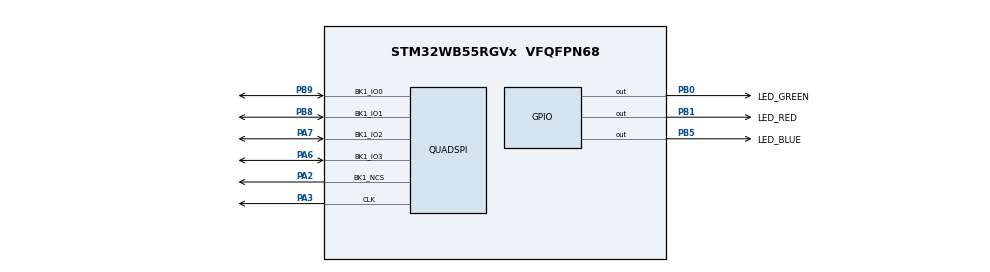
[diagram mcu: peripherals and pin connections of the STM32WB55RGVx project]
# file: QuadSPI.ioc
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Mcu.Family=STM32WB
Mcu.Name=STM32WB55RGVx
Mcu.Package=VFQFPN68
NVIC.PriorityGroup=NVIC_PRIORITYGROUP_4
NVIC.QUADSPI_IRQn=true\:0\:0\:false\:false\:true\:true\:true\:true
OSC_IN.Mode=HSE-External-Oscillator
OSC_IN.Signal=RCC_OSC_IN
OSC_OUT.Mode=HSE-External-Oscillator
OSC_OUT.Signal=RCC_OSC_OUT
PA13.Mode=Serial_Wire
PA13.Signal=SYS_JTMS-SWDIO
PA14.Mode=Serial_Wire
PA14.Signal=SYS_JTCK-SWCLK
PA2.GPIO_PuPd=GPIO_PULLUP
PA2.GPIO_Speed=GPIO_SPEED_FREQ_VERY_HIGH
PA2.Mode=Single Bank 1
PA2.Signal=QUADSPI_BK1_NCS
PA3.GPIO_PuPd=GPIO_NOPULL
PA3.GPIO_Speed=GPIO_SPEED_FREQ_VERY_HIGH
PA3.Mode=Single Bank 1
PA3.Signal=QUADSPI_CLK
PA6.GPIO_PuPd=GPIO_PULLUP
PA6.GPIO_Speed=GPIO_SPEED_FREQ_VERY_HIGH
PA6.Mode=Single Bank 1
PA6.Signal=QUADSPI_BK1_IO3
PA7.GPIO_PuPd=GPIO_PULLUP
PA7.GPIO_Speed=GPIO_SPEED_FREQ_VERY_HIGH
PA7.Mode=Single Bank 1
PA7.Signal=QUADSPI_BK1_IO2
PB0.GPIO_Label=LED_GREEN
PB0.Signal=GPIO_Output
PB1.GPIO_Label=LED_RED
PB1.Signal=GPIO_Output
PB5.GPIO_Label=LED_BLUE
PB5.Signal=GPIO_Output
PB8.GPIO_PuPd=GPIO_PULLUP
PB8.GPIO_Speed=GPIO_SPEED_FREQ_VERY_HIGH
PB8.Mode=Single Bank 1
PB8.Signal=QUADSPI_BK1_IO1
PB9.GPIO_PuPd=GPIO_PULLUP
PB9.GPIO_Speed=GPIO_SPEED_FREQ_VERY_HIGH
PB9.Mode=Single Bank 1
PB9.Signal=QUADSPI_BK1_IO0
PC14-OSC32_IN.Mode=LSE-External-Oscillator
PC14-OSC32_IN.Signal=RCC_OSC32_IN
PC15-OSC32_OUT.Mode=LSE-External-Oscillator
PC15-OSC32_OUT.Signal=RCC_OSC32_OUT
ProjectManager.HeapSize=0x200
ProjectManager.StackSize=0x400
ProjectManager.TargetToolchain=STM32CubeIDE
QUADSPI.ClockPrescaler=2
QUADSPI.FifoThreshold=4
QUADSPI.FlashSize=22
QUADSPI.SampleShifting=QSPI_SAMPLE_SHIFTING_HALFCYCLE
RCC.ADCFreq_Value=48000000
RCC.AHB2CLKDivider=RCC_SYSCLK_DIV2
RCC.AHBFreq_Value=64000000
RCC.APB1Freq_Value=64000000
RCC.APB1TimFreq_Value=64000000
RCC.APB2Freq_Value=64000000
RCC.APB2TimFreq_Value=64000000
RCC.APB3Freq_Value=16000000
RCC.CortexFreq_Value=64000000
RCC.HCLKFreq_Value=64000000
RCC.HSE_VALUE=32000000
RCC.HSI48_VALUE=48000000
RCC.HSI_VALUE=16000000
RCC.PLLN=32
RCC.PLLSAI1N=24
RCC.SYSCLKFreq_VALUE=64000000
RCC.SYSCLKSource=RCC_SYSCLKSOURCE_PLLCLK
RCC.USBFreq_Value=48000000
RCC.VCOOutputFreq_Value=128000000
board=custom

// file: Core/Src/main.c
/* USER CODE BEGIN Header */
/**
  ******************************************************************************
  * @file           : main.c
  * @brief          : Main program body
  ******************************************************************************
  * @attention
  *
  * Copyright (c) 2022 STMicroelectronics.
  * All rights reserved.
  *
  * This software is licensed under terms that can be found in the LICENSE file
  * in the root directory of this software component.
  * If no LICENSE file comes with this software, it is provided AS-IS.
  *
  ******************************************************************************
  */
/* USER CODE END Header */
#include "main.h"

/* USER CODE BEGIN Includes */
#include <stdio.h>
#include <stdint.h>
/* USER CODE END Includes */

 QSPI_HandleTypeDef hqspi;

void SystemClock_Config(void);
void PeriphCommonClock_Config(void);
static void MX_GPIO_Init(void);
static void MX_QUADSPI_Init(void);

/* USER CODE BEGIN 0 */
uint8_t buf[4] = {0};

int __io_putchar(int ch) {
    ITM_SendChar(ch);
    return ch;
}

int W25QxxReadFlashID()
{
	QSPI_CommandTypeDef     sCommand;

	/* Enable write operations ------------------------------------------ */
	sCommand.InstructionMode   = QSPI_INSTRUCTION_1_LINE;
	sCommand.Instruction       = 0x90;

	sCommand.AddressMode = QSPI_ADDRESS_1_LINE;
	sCommand.AddressSize = QSPI_ADDRESS_24_BITS;
	sCommand.Address = 0x0U;

	sCommand.AlternateByteMode = QSPI_ALTERNATE_BYTES_NONE;
	sCommand.AlternateBytes = QSPI_ALTERNATE_BYTES_NONE;
	sCommand.AlternateBytesSize = QSPI_ALTERNATE_BYTES_NONE;

	sCommand.DummyCycles = 0;
	sCommand.DataMode = QSPI_DATA_1_LINE;
	sCommand.NbData = 2;

	sCommand.DdrMode           = QSPI_DDR_MODE_DISABLE;
	sCommand.SIOOMode          = QSPI_SIOO_INST_EVERY_CMD;

	if (HAL_QSPI_Command(&hqspi, &sCommand, HAL_QSPI_TIMEOUT_DEFAULT_VALUE) != HAL_OK)
	{
	  Error_Handler();
	}

	if (HAL_QSPI_Receive(&hqspi, buf, HAL_QSPI_TIMEOUT_DEFAULT_VALUE) != HAL_OK) {
	  Error_Handler();
	}

	return 0;
}

typedef enum {
	Register_1,
	Register_2
} RegisterIndex;

int W25QxxReadStatus(RegisterIndex index, uint8_t *value)
{
	QSPI_CommandTypeDef sCommand = {0};

	/* Enable write operations ------------------------------------------ */
	sCommand.InstructionMode   = QSPI_INSTRUCTION_1_LINE;
	if (index == Register_1)
		sCommand.Instruction       = 0x05;
	else
		sCommand.Instruction       = 0x35;

	sCommand.DataMode = QSPI_DATA_1_LINE;
	sCommand.NbData = 1;

	if (HAL_QSPI_Command(&hqspi, &sCommand, HAL_QSPI_TIMEOUT_DEFAULT_VALUE) != HAL_OK)
	{
	  Error_Handler();
	}

	if (HAL_QSPI_Receive(&hqspi, value, HAL_QSPI_TIMEOUT_DEFAULT_VALUE) != HAL_OK) {
	  Error_Handler();
	}

	return 0;
}

int W25QxxWriteStatus(uint16_t value)
{
	uint8_t sendTo[] = {value, value>>8};
	QSPI_CommandTypeDef sCommand = {0};

	/* Enable write operations ------------------------------------------ */
	sCommand.InstructionMode   = QSPI_INSTRUCTION_1_LINE;
	sCommand.Instruction       = 0x01;

	sCommand.DataMode = QSPI_DATA_1_LINE;
	sCommand.NbData = 2;

	if (HAL_QSPI_Command(&hqspi, &sCommand, HAL_QSPI_TIMEOUT_DEFAULT_VALUE) != HAL_OK)
	{
	  Error_Handler();
	}

	if (HAL_QSPI_Transmit(&hqspi, sendTo, HAL_QSPI_TIMEOUT_DEFAULT_VALUE) != HAL_OK) {
	  Error_Handler();
	}

	return 0;
}

int W25QXXWriteEnable()
{
	QSPI_CommandTypeDef sCommand = {0};

	/* Enable write operations ------------------------------------------ */
	sCommand.InstructionMode   = QSPI_INSTRUCTION_1_LINE;
	sCommand.Instruction       = 0x06;

	sCommand.AddressMode = QSPI_ADDRESS_NONE;
	sCommand.AddressSize = QSPI_ADDRESS_NONE;
	sCommand.Address = 0x0U;

	sCommand.AlternateByteMode = QSPI_ALTERNATE_BYTES_NONE;
	sCommand.AlternateBytes = QSPI_ALTERNATE_BYTES_NONE;
	sCommand.AlternateBytesSize = QSPI_ALTERNATE_BYTES_NONE;

	sCommand.DummyCycles = 0;
	sCommand.DataMode = QSPI_DATA_NONE;
	sCommand.NbData = 0;

	sCommand.DdrMode = QSPI_DDR_MODE_DISABLE;
	sCommand.SIOOMode = QSPI_SIOO_INST_EVERY_CMD;

	if (HAL_QSPI_Command(&hqspi, &sCommand, HAL_QSPI_TIMEOUT_DEFAULT_VALUE) != HAL_OK)
	{
	  Error_Handler();
	}

	return 0;
}

int W25QXXReadRaw()
{
	QSPI_CommandTypeDef     sCommand;

	sCommand.InstructionMode   = QSPI_INSTRUCTION_1_LINE;
	sCommand.Instruction       = 0x6B;

	sCommand.AddressMode = QSPI_ADDRESS_1_LINE;
	sCommand.AddressSize = QSPI_ADDRESS_24_BITS;
	/* A special address 0x123456%256=86 */
	sCommand.Address = 0x123456U;

	sCommand.AlternateByteMode = QSPI_ALTERNATE_BYTES_NONE;
	sCommand.AlternateBytes = QSPI_ALTERNATE_BYTES_NONE;
	sCommand.AlternateBytesSize = QSPI_ALTERNATE_BYTES_NONE;

	sCommand.DummyCycles = 8;
	sCommand.DataMode = QSPI_DATA_4_LINES;
	sCommand.NbData = 4;

	sCommand.DdrMode           = QSPI_DDR_MODE_DISABLE;
	sCommand.SIOOMode          = QSPI_SIOO_INST_EVERY_CMD;

	if (HAL_QSPI_Command(&hqspi, &sCommand, HAL_QSPI_TIMEOUT_DEFAULT_VALUE) != HAL_OK)
	{
	  Error_Handler();
	}

	if (HAL_QSPI_Receive(&hqspi, buf, HAL_QSPI_TIMEOUT_DEFAULT_VALUE) != HAL_OK) {
	  Error_Handler();
	}

	return 0;
}

int W25QXXWriteRaw()
{
	uint8_t wrireBuff[] = {0x11, 0x22, 0x33, 0x44};
	QSPI_CommandTypeDef     sCommand;

	sCommand.InstructionMode   = QSPI_INSTRUCTION_1_LINE;
	sCommand.Instruction       = 0x02;

	sCommand.AddressMode = QSPI_ADDRESS_1_LINE;
	sCommand.AddressSize = QSPI_ADDRESS_24_BITS;
	/* A special address 0x123456%256=86 */
	sCommand.Address = 0x123456U;

	sCommand.AlternateByteMode = QSPI_ALTERNATE_BYTES_NONE;
	sCommand.AlternateBytes = QSPI_ALTERNATE_BYTES_NONE;
	sCommand.AlternateBytesSize = QSPI_ALTERNATE_BYTES_NONE;

	sCommand.DummyCycles = 0;
	sCommand.DataMode = QSPI_DATA_1_LINE;
	sCommand.NbData = 4;

	sCommand.DdrMode           = QSPI_DDR_MODE_DISABLE;
	sCommand.SIOOMode          = QSPI_SIOO_INST_EVERY_CMD;

	if (HAL_QSPI_Command(&hqspi, &sCommand, HAL_QSPI_TIMEOUT_DEFAULT_VALUE) != HAL_OK)
	{
	  Error_Handler();
	}

	if (HAL_QSPI_Transmit(&hqspi, wrireBuff, HAL_QSPI_TIMEOUT_DEFAULT_VALUE) != HAL_OK) {
	  Error_Handler();
	}

	return 0;
}
/* USER CODE END 0 */

int main(void)
{

  /* MCU Configuration--------------------------------------------------------*/

  /* Reset of all peripherals, Initializes the Flash interface and the Systick. */
  HAL_Init();

  /* Configure the system clock */
  SystemClock_Config();

/* Configure the peripherals common clocks */
  PeriphCommonClock_Config();

  /* Initialize all configured peripherals */
  MX_GPIO_Init();
  MX_QUADSPI_Init();
  /* USER CODE BEGIN 2 */
  //W25QxxReadFlashID();
  W25QXXWriteEnable();
  W25QxxReadStatus(Register_1, &buf[0]);
  W25QxxReadStatus(Register_2, &buf[1]);

  uint16_t status = ((buf[1] | (1<<1)) <<8) | buf[0];
  W25QxxWriteStatus(status);
  W25QxxReadStatus(Register_2, &buf[1]);

  W25QxxReadStatus(Register_1, &buf[0]);

  /* USER CODE END 2 */

  /* Infinite loop */
  /* USER CODE BEGIN WHILE */
  while (1)
  {
	W25QXXReadRaw();

	W25QXXWriteEnable();
	W25QXXWriteRaw();

	HAL_Delay(10);
	W25QXXReadRaw();

	HAL_GPIO_WritePin(LED_GREEN_GPIO_Port, LED_GREEN_Pin, GPIO_PIN_RESET);
	HAL_GPIO_WritePin(LED_RED_GPIO_Port, LED_RED_Pin, GPIO_PIN_RESET);
	HAL_GPIO_WritePin(LED_BLUE_GPIO_Port, LED_BLUE_Pin, GPIO_PIN_RESET);
	HAL_Delay(500);

	HAL_GPIO_WritePin(LED_GREEN_GPIO_Port, LED_GREEN_Pin, GPIO_PIN_SET);
	HAL_GPIO_WritePin(LED_RED_GPIO_Port, LED_RED_Pin, GPIO_PIN_SET);
	HAL_GPIO_WritePin(LED_BLUE_GPIO_Port, LED_BLUE_Pin, GPIO_PIN_SET);
	HAL_Delay(500);

	printf("...\n");
    /* USER CODE END WHILE */

  }
}

void SystemClock_Config(void)
{
  RCC_OscInitTypeDef RCC_OscInitStruct = {0};
  RCC_ClkInitTypeDef RCC_ClkInitStruct = {0};

  /** Configure the main internal regulator output voltage
  */
  __HAL_PWR_VOLTAGESCALING_CONFIG(PWR_REGULATOR_VOLTAGE_SCALE1);

  /** Initializes the RCC Oscillators according to the specified parameters
  * in the RCC_OscInitTypeDef structure.
  */
  RCC_OscInitStruct.OscillatorType = RCC_OSCILLATORTYPE_HSI|RCC_OSCILLATORTYPE_HSE
                              |RCC_OSCILLATORTYPE_MSI;
  RCC_OscInitStruct.HSEState = RCC_HSE_ON;
  RCC_OscInitStruct.HSIState = RCC_HSI_ON;
  RCC_OscInitStruct.MSIState = RCC_MSI_ON;
  RCC_OscInitStruct.HSICalibrationValue = RCC_HSICALIBRATION_DEFAULT;
  RCC_OscInitStruct.MSICalibrationValue = RCC_MSICALIBRATION_DEFAULT;
  RCC_OscInitStruct.MSIClockRange = RCC_MSIRANGE_6;
  RCC_OscInitStruct.PLL.PLLState = RCC_PLL_ON;
  RCC_OscInitStruct.PLL.PLLSource = RCC_PLLSOURCE_MSI;
  RCC_OscInitStruct.PLL.PLLM = RCC_PLLM_DIV1;
  RCC_OscInitStruct.PLL.PLLN = 32;
  RCC_OscInitStruct.PLL.PLLP = RCC_PLLP_DIV2;
  RCC_OscInitStruct.PLL.PLLR = RCC_PLLR_DIV2;
  RCC_OscInitStruct.PLL.PLLQ = RCC_PLLQ_DIV2;
  if (HAL_RCC_OscConfig(&RCC_OscInitStruct) != HAL_OK)
  {
    Error_Handler();
  }

  /** Configure the SYSCLKSource, HCLK, PCLK1 and PCLK2 clocks dividers
  */
  RCC_ClkInitStruct.ClockType = RCC_CLOCKTYPE_HCLK4|RCC_CLOCKTYPE_HCLK2
                              |RCC_CLOCKTYPE_HCLK|RCC_CLOCKTYPE_SYSCLK
                              |RCC_CLOCKTYPE_PCLK1|RCC_CLOCKTYPE_PCLK2;
  RCC_ClkInitStruct.SYSCLKSource = RCC_SYSCLKSOURCE_PLLCLK;
  RCC_ClkInitStruct.AHBCLKDivider = RCC_SYSCLK_DIV1;
  RCC_ClkInitStruct.APB1CLKDivider = RCC_HCLK_DIV1;
  RCC_ClkInitStruct.APB2CLKDivider = RCC_HCLK_DIV1;
  RCC_ClkInitStruct.AHBCLK2Divider = RCC_SYSCLK_DIV2;
  RCC_ClkInitStruct.AHBCLK4Divider = RCC_SYSCLK_DIV1;

  if (HAL_RCC_ClockConfig(&RCC_ClkInitStruct, FLASH_LATENCY_3) != HAL_OK)
  {
    Error_Handler();
  }
}

void PeriphCommonClock_Config(void)
{
  RCC_PeriphCLKInitTypeDef PeriphClkInitStruct = {0};

  /** Initializes the peripherals clock
  */
  PeriphClkInitStruct.PeriphClockSelection = RCC_PERIPHCLK_SMPS;
  PeriphClkInitStruct.SmpsClockSelection = RCC_SMPSCLKSOURCE_HSI;
  PeriphClkInitStruct.SmpsDivSelection = RCC_SMPSCLKDIV_RANGE1;

  if (HAL_RCCEx_PeriphCLKConfig(&PeriphClkInitStruct) != HAL_OK)
  {
    Error_Handler();
  }
}

static void MX_QUADSPI_Init(void)
{

  /* QUADSPI parameter configuration*/
  hqspi.Instance = QUADSPI;
  hqspi.Init.ClockPrescaler = 2;
  hqspi.Init.FifoThreshold = 4;
  hqspi.Init.SampleShifting = QSPI_SAMPLE_SHIFTING_HALFCYCLE;
  hqspi.Init.FlashSize = 22;
  hqspi.Init.ChipSelectHighTime = QSPI_CS_HIGH_TIME_1_CYCLE;
  hqspi.Init.ClockMode = QSPI_CLOCK_MODE_0;
  if (HAL_QSPI_Init(&hqspi) != HAL_OK)
  {
    Error_Handler();
  }

}

static void MX_GPIO_Init(void)
{
  GPIO_InitTypeDef GPIO_InitStruct = {0};

  /* GPIO Ports Clock Enable */
  __HAL_RCC_GPIOC_CLK_ENABLE();
  __HAL_RCC_GPIOB_CLK_ENABLE();
  __HAL_RCC_GPIOA_CLK_ENABLE();

  /*Configure GPIO pin Output Level */
  HAL_GPIO_WritePin(GPIOB, LED_GREEN_Pin|LED_RED_Pin|LED_BLUE_Pin, GPIO_PIN_RESET);

  /*Configure GPIO pins : LED_GREEN_Pin LED_RED_Pin LED_BLUE_Pin */
  GPIO_InitStruct.Pin = LED_GREEN_Pin|LED_RED_Pin|LED_BLUE_Pin;
  GPIO_InitStruct.Mode = GPIO_MODE_OUTPUT_PP;
  GPIO_InitStruct.Pull = GPIO_NOPULL;
  GPIO_InitStruct.Speed = GPIO_SPEED_FREQ_LOW;
  HAL_GPIO_Init(GPIOB, &GPIO_InitStruct);

}

void Error_Handler(void)
{
  __disable_irq();
  while (1)
  {
  }
}
